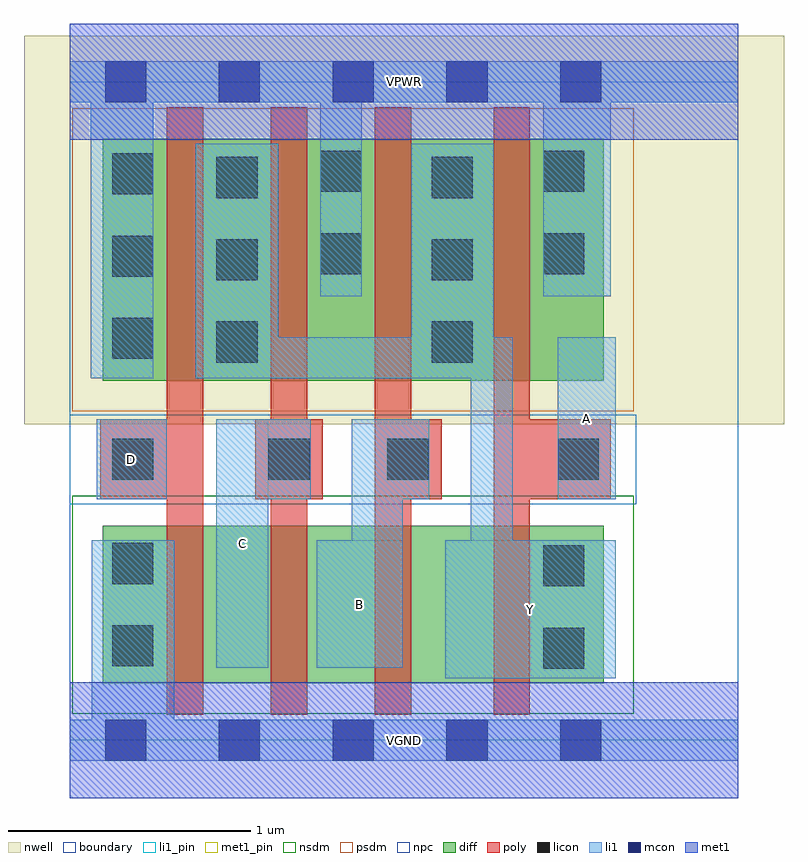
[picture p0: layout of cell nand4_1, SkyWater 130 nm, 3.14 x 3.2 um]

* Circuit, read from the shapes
.subckt nand4_1 A B C D VGND VPWR Y
XM1 n1 D VGND VSUBS sky130_fd_pr__nfet_01v8 w=0.65 l=0.15
XM2 n2 C n1 VSUBS sky130_fd_pr__nfet_01v8 w=0.65 l=0.15
XM3 n3 B n2 VSUBS sky130_fd_pr__nfet_01v8 w=0.65 l=0.15
XM4 Y A n3 VSUBS sky130_fd_pr__nfet_01v8 w=0.65 l=0.15
XM5 Y D VPWR n4 sky130_fd_pr__pfet_01v8 w=1 l=0.15
XM6 VPWR C Y n4 sky130_fd_pr__pfet_01v8 w=1 l=0.15
XM7 Y B VPWR n4 sky130_fd_pr__pfet_01v8 w=1 l=0.15
XM8 VPWR A Y n4 sky130_fd_pr__pfet_01v8 w=1 l=0.15
.ends

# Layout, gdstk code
import gdstk
lib = gdstk.Library(unit=1e-6, precision=1e-09)
def R(c, l, rs):  # rectangles x0, y0, x1, y1
    for r in rs: c.add(gdstk.rectangle(r[:2], r[2:], *l))
def A(c, l, x, y, w, h, nx, ny, dx, dy):  # array of equal rectangles
    R(c, l, [(x+i*dx, y+j*dy, x+i*dx+w, y+j*dy+h) for i in range(nx) for j in range(ny)])
nwell = (64, 20)
diff = (65, 20)
poly = (66, 20)
licon = (66, 44)
li1_pin = (67, 16)
li1 = (67, 20)
mcon = (67, 44)
met1_pin = (68, 16)
met1 = (68, 20)
nsdm = (93, 44)
psdm = (94, 20)
npc = (95, 20)
boundary = (235, 4)

nand4_1 = lib.new_cell('nand4_1')
R(nand4_1, nwell, [(-0.19,1.305,2.95,2.91), (0,1.305,2.76,2.91)])
R(nand4_1, diff, [(0.135,0.235,2.205,0.885), (0.135,1.485,2.205,2.485)])
A(nand4_1, poly, 0.4, 0.105, 0.15, 2.51, 3, 1, 0.43, 0)
R(nand4_1, poly, [(1.75,0.105,1.9,2.615), (0.125,0.995,0.55,1.325), (0.765,0.995,1.045,1.325), (1.26,0.995,1.535,1.325), (1.75,0.995,2.235,1.325)])
A(nand4_1, licon, 0.605, 1.56, 0.17, 0.17, 1, 3, 0, 0.34)
A(nand4_1, licon, 1.495, 1.56, 0.17, 0.17, 1, 3, 0, 0.34)
A(nand4_1, licon, 0.175, 1.575, 0.17, 0.17, 1, 3, 0, 0.34)
R(nand4_1, licon, [(1.955,0.295,2.125,0.465), (0.175,0.305,0.345,0.475), (1.955,0.635,2.125,0.805), (0.175,0.645,0.345,0.815), (0.175,1.075,0.345,1.245), (0.82,1.075,0.99,1.245), (1.31,1.075,1.48,1.245), (2.015,1.075,2.185,1.245), (1.035,1.925,1.205,2.095), (1.955,1.925,2.125,2.095), (1.035,2.265,1.205,2.435), (1.955,2.265,2.125,2.435)])
R(nand4_1, li1_pin, [(1.55,0.255,2.255,0.825), (0.605,0.3,0.82,1.325), (1.02,0.3,1.375,0.825), (0.11,0.995,0.4,1.325), (2.015,0.995,2.255,1.665)])
R(nand4_1, li1, [(0,-0.085,2.76,0.085), (0.09,-0.085,0.43,0.825), (1.55,0.255,2.255,0.825), (1.655,0.255,1.83,1.665), (0.605,0.3,0.82,1.325), (1.02,0.3,1.375,0.825), (1.165,0.3,1.375,1.325), (0.11,0.995,0.4,1.325), (0.605,0.995,0.995,1.325), (1.165,0.995,1.485,1.325), (2.015,0.995,2.255,1.665), (0.085,1.495,0.345,2.805), (0.52,1.495,0.86,2.465), (0.52,1.495,1.83,1.665), (1.41,1.495,1.75,2.465), (1.035,1.835,1.205,2.805), (1.955,1.835,2.235,2.805), (0,2.635,2.76,2.805)])
A(nand4_1, mcon, 0.145, -0.085, 0.17, 0.17, 5, 2, 0.47, 2.72)
R(nand4_1, met1_pin, [(0,-0.24,2.76,0.24), (0,2.48,2.76,2.96)])
R(nand4_1, met1, [(0,-0.24,2.76,0.24), (0,2.48,2.76,2.96)])
R(nand4_1, nsdm, [(0.01,0.11,2.33,1.01)])
R(nand4_1, psdm, [(0.01,1.36,2.33,2.61)])
R(nand4_1, npc, [(0,0.975,2.34,1.345)])
R(nand4_1, boundary, [(0,0,2.76,2.72)])
nand4_1.add(gdstk.Label('A', (2.135,1.33), layer=67, texttype=5))
nand4_1.add(gdstk.Label('B', (1.197,0.562), layer=67, texttype=5))
nand4_1.add(gdstk.Label('C', (0.712,0.812), layer=67, texttype=5))
nand4_1.add(gdstk.Label('D', (0.255,1.16), layer=67, texttype=5))
nand4_1.add(gdstk.Label('Y', (1.902,0.54), layer=67, texttype=5))
nand4_1.add(gdstk.Label('VPWR', (1.38,2.72), layer=68, texttype=5))
nand4_1.add(gdstk.Label('VGND', (1.38,0), layer=68, texttype=5))
nand4_1.add(gdstk.Label('A', (2.135,1.33), layer=67, texttype=16))
nand4_1.add(gdstk.Label('B', (1.197,0.562), layer=67, texttype=16))
nand4_1.add(gdstk.Label('C', (0.712,0.812), layer=67, texttype=16))
nand4_1.add(gdstk.Label('D', (0.255,1.16), layer=67, texttype=16))
nand4_1.add(gdstk.Label('Y', (1.902,0.54), layer=67, texttype=16))
nand4_1.add(gdstk.Label('VPWR', (1.38,2.72), layer=68, texttype=16))
nand4_1.add(gdstk.Label('VGND', (1.38,0), layer=68, texttype=16))

lib.write_gds('nand4_1.gds')
